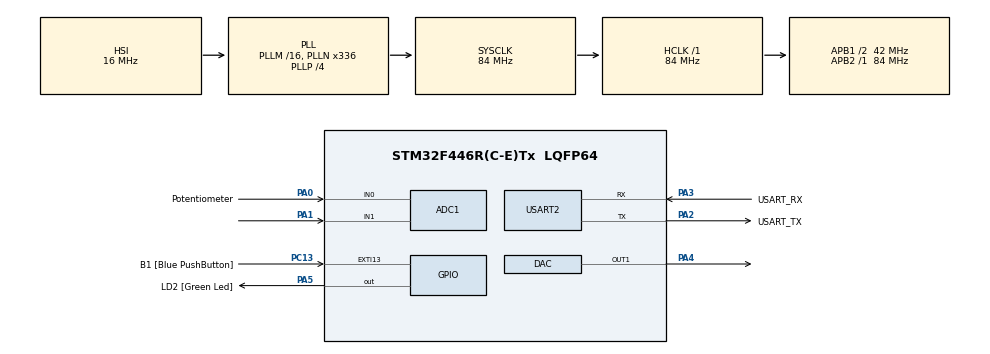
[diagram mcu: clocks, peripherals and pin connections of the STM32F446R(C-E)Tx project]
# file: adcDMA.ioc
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ADC1.Channel-0\#ChannelRegularConversion=ADC_CHANNEL_0
ADC1.Channel-1\#ChannelRegularConversion=ADC_CHANNEL_1
ADC1.Channel-2\#ChannelRegularConversion=ADC_CHANNEL_TEMPSENSOR
ADC1.ContinuousConvMode=ENABLE
ADC1.DMAContinuousRequests=ENABLE
ADC1.NbrOfConversion=3
ADC1.NbrOfConversionFlag=1
ADC1.Rank-0\#ChannelRegularConversion=1
ADC1.Rank-1\#ChannelRegularConversion=2
ADC1.Rank-2\#ChannelRegularConversion=3
ADC1.SamplingTime-0\#ChannelRegularConversion=ADC_SAMPLETIME_84CYCLES
ADC1.SamplingTime-1\#ChannelRegularConversion=ADC_SAMPLETIME_84CYCLES
ADC1.SamplingTime-2\#ChannelRegularConversion=ADC_SAMPLETIME_84CYCLES
ADC1.ScanConvMode=ENABLE
ADC1.master=1
Dma.ADC1.0.Direction=DMA_PERIPH_TO_MEMORY
Dma.ADC1.0.FIFOMode=DMA_FIFOMODE_DISABLE
Dma.ADC1.0.Instance=DMA2_Stream0
Dma.ADC1.0.MemDataAlignment=DMA_MDATAALIGN_HALFWORD
Dma.ADC1.0.MemInc=DMA_MINC_ENABLE
Dma.ADC1.0.Mode=DMA_CIRCULAR
Dma.ADC1.0.PeriphDataAlignment=DMA_PDATAALIGN_HALFWORD
Dma.ADC1.0.PeriphInc=DMA_PINC_DISABLE
Dma.ADC1.0.Priority=DMA_PRIORITY_LOW
Dma.Request0=ADC1
Mcu.Family=STM32F4
Mcu.Name=STM32F446R(C-E)Tx
Mcu.Package=LQFP64
NVIC.DMA2_Stream0_IRQn=true\:0\:0\:false\:false\:true\:false\:true\:true
NVIC.PriorityGroup=NVIC_PRIORITYGROUP_0
PA0-WKUP.GPIO_Label=Potentiometer
PA0-WKUP.Signal=ADCx_IN0
PA1.Signal=ADCx_IN1
PA13.GPIO_Label=TMS
PA13.Mode=Trace_Asynchronous_SW
PA13.Signal=SYS_JTMS-SWDIO
PA14.GPIO_Label=TCK
PA14.Mode=Trace_Asynchronous_SW
PA14.Signal=SYS_JTCK-SWCLK
PA2.GPIO_Label=USART_TX
PA2.Mode=Asynchronous
PA2.Signal=USART2_TX
PA3.GPIO_Label=USART_RX
PA3.Mode=Asynchronous
PA3.Signal=USART2_RX
PA4.Signal=COMP_DAC1_group
PA5.GPIO_Label=LD2 [Green Led]
PA5.Signal=GPIO_Output
PB3.GPIO_Label=SWO
PB3.Mode=Trace_Asynchronous_SW
PB3.Signal=SYS_JTDO-SWO
PC13.GPIO_Label=B1 [Blue PushButton]
PC13.GPIO_ModeDefaultEXTI=GPIO_MODE_IT_FALLING
PC13.Signal=GPXTI13
PC14-OSC32_IN.Mode=LSE-External-Oscillator
PC14-OSC32_IN.Signal=RCC_OSC32_IN
PC15-OSC32_OUT.Mode=LSE-External-Oscillator
PC15-OSC32_OUT.Signal=RCC_OSC32_OUT
PH0-OSC_IN.Mode=HSE-External-Oscillator
PH0-OSC_IN.Signal=RCC_OSC_IN
PH1-OSC_OUT.Mode=HSE-External-Oscillator
PH1-OSC_OUT.Signal=RCC_OSC_OUT
ProjectManager.HeapSize=0x200
ProjectManager.StackSize=0x400
ProjectManager.TargetToolchain=STM32CubeIDE
RCC.48MHZClocksFreq_Value=84000000
RCC.AHBFreq_Value=84000000
RCC.APB1CLKDivider=RCC_HCLK_DIV2
RCC.APB1Freq_Value=42000000
RCC.APB1TimFreq_Value=84000000
RCC.APB2Freq_Value=84000000
RCC.APB2TimFreq_Value=84000000
RCC.CortexFreq_Value=84000000
RCC.FLatency-AdvancedSettings=FLASH_LATENCY_2
RCC.HCLKFreq_Value=84000000
RCC.HSE_VALUE=8000000
RCC.HSI_VALUE=16000000
RCC.PLLN=336
RCC.PLLP=RCC_PLLP_DIV4
RCC.SYSCLKFreq_VALUE=84000000
RCC.SYSCLKSource=RCC_SYSCLKSOURCE_PLLCLK
RCC.USBFreq_Value=168000000
RCC.VCOOutputFreq_Value=336000000
SH.ADCx_IN0.0=ADC1_IN0,IN0
SH.ADCx_IN1.0=ADC1_IN1,IN1
SH.COMP_DAC1_group.0=DAC_OUT1,DAC_OUT1
USART2.VirtualMode=VM_ASYNC
VP_ADC1_TempSens_Input.Mode=IN-TempSens
board=NUCLEO-F446RE

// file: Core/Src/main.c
/* USER CODE BEGIN Header */
/**
  ******************************************************************************
  * @file           : main.c
  * @brief          : Main program body
  ******************************************************************************
  * @attention
  *
  * Copyright (c) 2023 STMicroelectronics.
  * All rights reserved.
  *
  * This software is licensed under terms that can be found in the LICENSE file
  * in the root directory of this software component.
  * If no LICENSE file comes with this software, it is provided AS-IS.
  *
  ******************************************************************************
  */
/* USER CODE END Header */
#include "main.h"

/* USER CODE BEGIN Includes */
#include <stdio.h>
/* USER CODE END Includes */

ADC_HandleTypeDef hadc1;
DMA_HandleTypeDef hdma_adc1;

DAC_HandleTypeDef hdac;

UART_HandleTypeDef huart2;

/* USER CODE BEGIN PV */
uint16_t values[3] = {0, 0, 0};
uint16_t audioValues[16] = {0, 0, 0, 0, 0, 0, 0, 0, 0, 0, 0, 0, 0, 0, 0, 0};
uint16_t potValues[16] = {0, 0, 0, 0, 0, 0, 0, 0, 0, 0, 0, 0, 0, 0, 0, 0};
uint16_t delayValues[16] = {0, 0, 0, 0, 0, 0, 0, 0, 0, 0, 0, 0, 0, 0, 0};

/* USER CODE END PV */

void SystemClock_Config(void);
static void MX_GPIO_Init(void);
static void MX_DMA_Init(void);
static void MX_USART2_UART_Init(void);
static void MX_ADC1_Init(void);
static void MX_DAC_Init(void);
/* USER CODE BEGIN PFP */
float  convertAnalogToTemperature(unsigned int analogReadValue);
int approximateTemperatureInt(unsigned int analogReadValue);
float  approximateTemperatureFloat(unsigned int analogReadValue);
void arrayDump(uint8_t position);
uint16_t getAverage(uint16_t values[]);

/* USER CODE END PFP */

/* USER CODE BEGIN 0 */
int _write(int file, char *ptr, int len)
{
	int DataIdx;
	for(DataIdx = 0; DataIdx < len; DataIdx++)
	{
		ITM_SendChar(*ptr++);
	}
	return len;
}
/* USER CODE END 0 */

int main(void)
{

  /* MCU Configuration--------------------------------------------------------*/

  /* Reset of all peripherals, Initializes the Flash interface and the Systick. */
  HAL_Init();

  /* Configure the system clock */
  SystemClock_Config();

  /* Initialize all configured peripherals */
  MX_GPIO_Init();
  MX_DMA_Init();
  MX_USART2_UART_Init();
  MX_ADC1_Init();
  MX_DAC_Init();
  /* USER CODE BEGIN 2 */
  HAL_ADC_Start_DMA(&hadc1, values, 3);
  HAL_DAC_Start(&hdac, DAC_CHANNEL_1);
  /* USER CODE END 2 */

  /* Infinite loop */
  /* USER CODE BEGIN WHILE */
  uint8_t position = 0;
  uint8_t timer = 0;
  uint16_t delayVal = 0;
  uint16_t delaySet = 0;
  uint16_t delayMix = 8;
  while (1)
  {

	if(position == 16) //reset the position when the buffer is full
	{
		position = 0;
	}
	  arrayDump(position);
	  uint16_t audioVal = getAverage(audioValues) * ((getAverage(potValues) / 4096.0f) * 6.6f); //filter for average and adjust volume

	  //get a previous audio value
	  delayValues[position] = audioVal * 0.5f; //store the current audio value in an array

	  audioVal = delayValues[delayMix] * audioVal; //mix the audio value with the delay value

	  //reset delay mix to 0
	  delayMix++;
	  if (delayMix == 16)
	  {
		  delayMix = 0;
	  }

	  HAL_DAC_SetValue(&hdac, DAC_CHANNEL_1, DAC_ALIGN_12B_R, audioVal); //set the dac value to the audio value
	  //DAC1->DHR12R1 = getAverage(potValues);
	  position ++;

		switch(position % 2)
		{
		case 0:
			if(timer == 0)
			{
				timer = 1;
				HAL_GPIO_WritePin(LD2_GPIO_Port, LD2_Pin, GPIO_PIN_SET);
			}
			else
			{
				timer = 0;
				HAL_GPIO_WritePin(LD2_GPIO_Port, LD2_Pin, GPIO_PIN_RESET);
			}
			break;
		default:
			break;

		}

    /* USER CODE END WHILE */

  }
}

void SystemClock_Config(void)
{
  RCC_OscInitTypeDef RCC_OscInitStruct = {0};
  RCC_ClkInitTypeDef RCC_ClkInitStruct = {0};

  /** Configure the main internal regulator output voltage
  */
  __HAL_RCC_PWR_CLK_ENABLE();
  __HAL_PWR_VOLTAGESCALING_CONFIG(PWR_REGULATOR_VOLTAGE_SCALE3);

  /** Initializes the RCC Oscillators according to the specified parameters
  * in the RCC_OscInitTypeDef structure.
  */
  RCC_OscInitStruct.OscillatorType = RCC_OSCILLATORTYPE_HSI;
  RCC_OscInitStruct.HSIState = RCC_HSI_ON;
  RCC_OscInitStruct.HSICalibrationValue = RCC_HSICALIBRATION_DEFAULT;
  RCC_OscInitStruct.PLL.PLLState = RCC_PLL_ON;
  RCC_OscInitStruct.PLL.PLLSource = RCC_PLLSOURCE_HSI;
  RCC_OscInitStruct.PLL.PLLM = 16;
  RCC_OscInitStruct.PLL.PLLN = 336;
  RCC_OscInitStruct.PLL.PLLP = RCC_PLLP_DIV4;
  RCC_OscInitStruct.PLL.PLLQ = 2;
  RCC_OscInitStruct.PLL.PLLR = 2;
  if (HAL_RCC_OscConfig(&RCC_OscInitStruct) != HAL_OK)
  {
    Error_Handler();
  }

  /** Initializes the CPU, AHB and APB buses clocks
  */
  RCC_ClkInitStruct.ClockType = RCC_CLOCKTYPE_HCLK|RCC_CLOCKTYPE_SYSCLK
                              |RCC_CLOCKTYPE_PCLK1|RCC_CLOCKTYPE_PCLK2;
  RCC_ClkInitStruct.SYSCLKSource = RCC_SYSCLKSOURCE_PLLCLK;
  RCC_ClkInitStruct.AHBCLKDivider = RCC_SYSCLK_DIV1;
  RCC_ClkInitStruct.APB1CLKDivider = RCC_HCLK_DIV2;
  RCC_ClkInitStruct.APB2CLKDivider = RCC_HCLK_DIV1;

  if (HAL_RCC_ClockConfig(&RCC_ClkInitStruct, FLASH_LATENCY_2) != HAL_OK)
  {
    Error_Handler();
  }
}

static void MX_ADC1_Init(void)
{

  ADC_ChannelConfTypeDef sConfig = {0};

  /** Configure the global features of the ADC (Clock, Resolution, Data Alignment and number of conversion)
  */
  hadc1.Instance = ADC1;
  hadc1.Init.ClockPrescaler = ADC_CLOCK_SYNC_PCLK_DIV4;
  hadc1.Init.Resolution = ADC_RESOLUTION_12B;
  hadc1.Init.ScanConvMode = ENABLE;
  hadc1.Init.ContinuousConvMode = ENABLE;
  hadc1.Init.DiscontinuousConvMode = DISABLE;
  hadc1.Init.ExternalTrigConvEdge = ADC_EXTERNALTRIGCONVEDGE_NONE;
  hadc1.Init.ExternalTrigConv = ADC_SOFTWARE_START;
  hadc1.Init.DataAlign = ADC_DATAALIGN_RIGHT;
  hadc1.Init.NbrOfConversion = 3;
  hadc1.Init.DMAContinuousRequests = ENABLE;
  hadc1.Init.EOCSelection = ADC_EOC_SINGLE_CONV;
  if (HAL_ADC_Init(&hadc1) != HAL_OK)
  {
    Error_Handler();
  }

  /** Configure for the selected ADC regular channel its corresponding rank in the sequencer and its sample time.
  */
  sConfig.Channel = ADC_CHANNEL_0;
  sConfig.Rank = 1;
  sConfig.SamplingTime = ADC_SAMPLETIME_84CYCLES;
  if (HAL_ADC_ConfigChannel(&hadc1, &sConfig) != HAL_OK)
  {
    Error_Handler();
  }

  /** Configure for the selected ADC regular channel its corresponding rank in the sequencer and its sample time.
  */
  sConfig.Channel = ADC_CHANNEL_1;
  sConfig.Rank = 2;
  if (HAL_ADC_ConfigChannel(&hadc1, &sConfig) != HAL_OK)
  {
    Error_Handler();
  }

  /** Configure for the selected ADC regular channel its corresponding rank in the sequencer and its sample time.
  */
  sConfig.Channel = ADC_CHANNEL_TEMPSENSOR;
  sConfig.Rank = 3;
  if (HAL_ADC_ConfigChannel(&hadc1, &sConfig) != HAL_OK)
  {
    Error_Handler();
  }

}

static void MX_DAC_Init(void)
{

  DAC_ChannelConfTypeDef sConfig = {0};

  /** DAC Initialization
  */
  hdac.Instance = DAC;
  if (HAL_DAC_Init(&hdac) != HAL_OK)
  {
    Error_Handler();
  }

  /** DAC channel OUT1 config
  */
  sConfig.DAC_Trigger = DAC_TRIGGER_NONE;
  sConfig.DAC_OutputBuffer = DAC_OUTPUTBUFFER_ENABLE;
  if (HAL_DAC_ConfigChannel(&hdac, &sConfig, DAC_CHANNEL_1) != HAL_OK)
  {
    Error_Handler();
  }

}

static void MX_USART2_UART_Init(void)
{

  huart2.Instance = USART2;
  huart2.Init.BaudRate = 115200;
  huart2.Init.WordLength = UART_WORDLENGTH_8B;
  huart2.Init.StopBits = UART_STOPBITS_1;
  huart2.Init.Parity = UART_PARITY_NONE;
  huart2.Init.Mode = UART_MODE_TX_RX;
  huart2.Init.HwFlowCtl = UART_HWCONTROL_NONE;
  huart2.Init.OverSampling = UART_OVERSAMPLING_16;
  if (HAL_UART_Init(&huart2) != HAL_OK)
  {
    Error_Handler();
  }

}

static void MX_DMA_Init(void)
{

  /* DMA controller clock enable */
  __HAL_RCC_DMA2_CLK_ENABLE();

  /* DMA interrupt init */
  /* DMA2_Stream0_IRQn interrupt configuration */
  HAL_NVIC_SetPriority(DMA2_Stream0_IRQn, 0, 0);
  HAL_NVIC_EnableIRQ(DMA2_Stream0_IRQn);

}

static void MX_GPIO_Init(void)
{
  GPIO_InitTypeDef GPIO_InitStruct = {0};

  /* GPIO Ports Clock Enable */
  __HAL_RCC_GPIOC_CLK_ENABLE();
  __HAL_RCC_GPIOH_CLK_ENABLE();
  __HAL_RCC_GPIOA_CLK_ENABLE();
  __HAL_RCC_GPIOB_CLK_ENABLE();

  /*Configure GPIO pin Output Level */
  HAL_GPIO_WritePin(LD2_GPIO_Port, LD2_Pin, GPIO_PIN_RESET);

  /*Configure GPIO pin : B1_Pin */
  GPIO_InitStruct.Pin = B1_Pin;
  GPIO_InitStruct.Mode = GPIO_MODE_IT_FALLING;
  GPIO_InitStruct.Pull = GPIO_NOPULL;
  HAL_GPIO_Init(B1_GPIO_Port, &GPIO_InitStruct);

  /*Configure GPIO pin : LD2_Pin */
  GPIO_InitStruct.Pin = LD2_Pin;
  GPIO_InitStruct.Mode = GPIO_MODE_OUTPUT_PP;
  GPIO_InitStruct.Pull = GPIO_NOPULL;
  GPIO_InitStruct.Speed = GPIO_SPEED_FREQ_LOW;
  HAL_GPIO_Init(LD2_GPIO_Port, &GPIO_InitStruct);

}

/* USER CODE BEGIN 4 */
void arrayDump(uint8_t position)
{
	audioValues[position] = values[0];
	potValues[position] = values[1];
}

uint16_t getAverage(uint16_t values[])
{
	uint32_t temp = 0;
	for(int i = 0; i < 16; i++)
	{
		temp += values[i];
	}
	return (temp / 16);
}
/* USER CODE END 4 */

void Error_Handler(void)
{
  __disable_irq();
  while (1)
  {
  }
}
